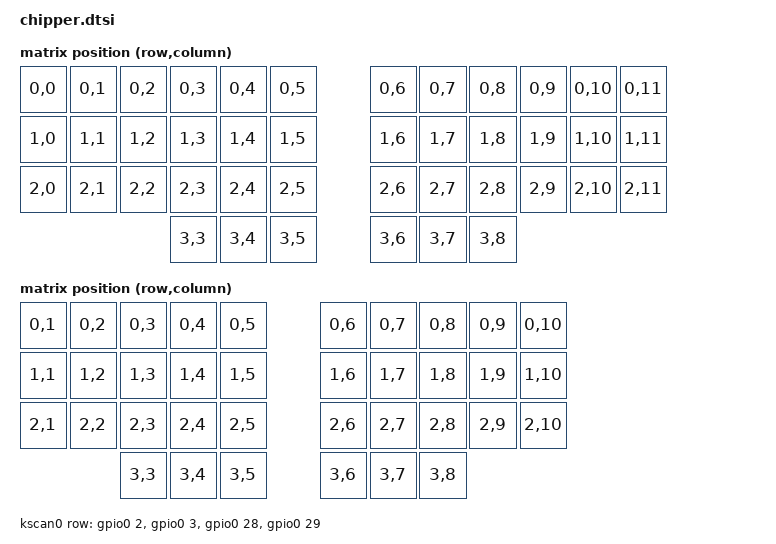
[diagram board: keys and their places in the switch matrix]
#include <dt-bindings/zmk/matrix_transform.h>

/ {
	chosen {
		zmk,kscan = &kscan0;
		zmk,matrix_transform = &default_transform;
	};

	default_transform: keymap_transform_0 {
		compatible = "zmk,matrix-transform";
		columns = <12>;
		rows = <4>;
// | SW1  | SW2  | SW3  | SW4  | SW5  | SW6  |   | SW6  | SW5  | SW4  | SW3  | SW2  | SW1  |
// | SW7  | SW8  | SW9  | SW10 | SW11 | SW12 |   | SW12 | SW11 | SW10 | SW9  | SW8  | SW7  |
// | SW13 | SW14 | SW15 | SW16 | SW17 | SW18 |   | SW18 | SW17 | SW16 | SW15 | SW14 | SW13 |
//                      | SW19 | SW20 | SW21 |   | SW21 | SW20 | SW19 |
		map = <
RC(0,0) RC(0,1) RC(0,2) RC(0,3) RC(0,4) RC(0,5)  RC(0,6) RC(0,7) RC(0,8) RC(0,9) RC(0,10) RC(0,11)
RC(1,0) RC(1,1) RC(1,2) RC(1,3) RC(1,4) RC(1,5)  RC(1,6) RC(1,7) RC(1,8) RC(1,9) RC(1,10) RC(1,11)
RC(2,0) RC(2,1) RC(2,2) RC(2,3) RC(2,4) RC(2,5)  RC(2,6) RC(2,7) RC(2,8) RC(2,9) RC(2,10) RC(2,11)
                        RC(3,3) RC(3,4) RC(3,5)  RC(3,6) RC(3,7) RC(3,8)
		>;
	};

	five_column_transform: keymap_transform_1 {
		compatible = "zmk,matrix-transform";
		columns = <10>;
		rows = <4>;
// | SW2  | SW3  | SW4  | SW5  | SW6  |   | SW6  | SW5  | SW4  | SW3  | SW2  |
// | SW8  | SW9  | SW10 | SW11 | SW12 |   | SW12 | SW11 | SW10 | SW9  | SW8  |
// | SW14 | SW15 | SW16 | SW17 | SW18 |   | SW18 | SW17 | SW16 | SW15 | SW14 |
//                      | SW19 | SW20 | SW21 |   | SW21 | SW20 | SW19 |
		map = <
RC(0,1) RC(0,2) RC(0,3) RC(0,4) RC(0,5)  RC(0,6) RC(0,7) RC(0,8) RC(0,9) RC(0,10)
RC(1,1) RC(1,2) RC(1,3) RC(1,4) RC(1,5)  RC(1,6) RC(1,7) RC(1,8) RC(1,9) RC(1,10)
RC(2,1) RC(2,2) RC(2,3) RC(2,4) RC(2,5)  RC(2,6) RC(2,7) RC(2,8) RC(2,9) RC(2,10)
                        RC(3,3) RC(3,4) RC(3,5)  RC(3,6) RC(3,7) RC(3,8)
		>;
	};

	kscan0: kscan {
		compatible = "zmk,kscan-gpio-matrix";
		label = "KSCAN";

		diode-direction = "col2row";
		row-gpios
			= <&gpio0 2 (GPIO_ACTIVE_HIGH | GPIO_PULL_DOWN)>     //Row0
			, <&gpio0 3 (GPIO_ACTIVE_HIGH | GPIO_PULL_DOWN)>     //Row1
			, <&gpio0 28 (GPIO_ACTIVE_HIGH | GPIO_PULL_DOWN)>    //Row2
			, <&gpio0 29 (GPIO_ACTIVE_HIGH | GPIO_PULL_DOWN)>    //Row3
			;
		
	};
   
	// TODO: per-key RGB node(s)?
};

&spi0 {
	compatible = "nordic,nrf-spim";
	status = "okay";
	sck-pin = <5>;
	mosi-pin = <4>;
	miso-pin = <8>;
	cs-gpios = <&gpio0 9 GPIO_ACTIVE_HIGH>;

	sharp: ls0xx@0 {
		compatible = "sharp,ls0xx";
		label = "DISPLAY";
		spi-max-frequency = <2000000>;
		reg = <0>;
		width = <160>;
		height = <68>;
		// disp-en-gpios = <&gpio0 23 GPIO_ACTIVE_HIGH>;
	};
};

/ {
  chosen {
    zephyr,display = &sharp;
  };
};

&usbd {
	status = "okay";
};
